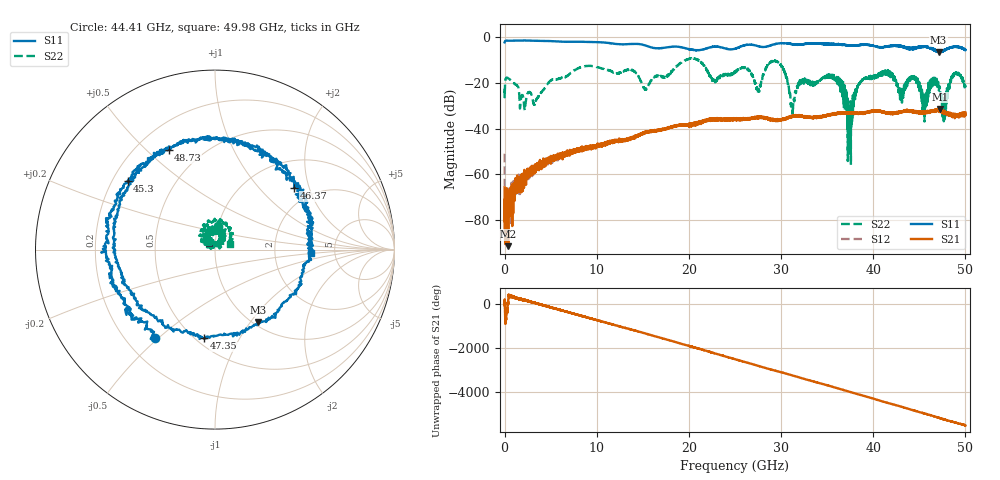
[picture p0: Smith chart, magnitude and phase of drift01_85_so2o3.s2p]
!Created with skrf (http://scikit-rf.org).
# Hz S RI R 50.0
!freq ReS11 ImS11 ReS21 ImS21 ReS12 ImS12 ReS22 ImS22
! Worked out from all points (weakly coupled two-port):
!   10001 points, 300 kHz to 50 GHz, reference 50 ohm
!   highest |S21| = -31.32 dB at 47.25 GHz (marker M1); lowest = -91.5 dB at 395.3 MHz (marker M2)
!   lowest |S11| = -6.6 dB at 47.1 GHz (marker M3), VSWR 2.78, Z = 52.5 - j54.5 ohm
!   |S11| at or under -10 dB: nowhere
!   |S22| runs from -55.9 to -9.2 dB; largest |S21 - S12| = 0.0038
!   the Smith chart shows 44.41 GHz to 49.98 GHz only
!   S11 on the Smith chart (normalised r, x): 44.41 GHz: 0.32, -0.49; 45.3 GHz: 0.26, +0.32; 46.37 GHz: 1.60, +1.59; 47.35 GHz: 0.55, -0.72; 48.73 GHz: 0.33, +0.59; 49.98 GHz: 3.27, -0.18
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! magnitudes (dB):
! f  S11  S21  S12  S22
! 300 kHz  -2.2  -65.8  -51.0  -22.5
! 395.3 MHz  -1.4  -91.5  -74.7  -18.0
! 3.29 GHz  -1.5  -57.7  -57.9  -28.8
! 8.335 GHz  -1.9  -48.7  -48.9  -12.9
! 16.67 GHz  -4.8  -40.7  -40.7  -16.7
! 25 GHz  -5.0  -36.1  -35.8  -15.3
! 29.58 GHz  -2.8  -36.0  -36.6  -10.7
! 31.24 GHz  -3.0  -34.7  -34.7  -32.5
! 33.34 GHz  -2.5  -35.2  -35.0  -20.3
! 36.08 GHz  -3.1  -33.0  -33.2  -18.6
! 37.47 GHz  -3.6  -33.0  -33.0  -32.7
! 38.65 GHz  -3.3  -33.3  -33.2  -19.3
! 41.67 GHz  -3.8  -32.9  -33.1  -16.3
! 44.41 GHz  -4.5  -32.6  -32.6  -17.6
! 45.3 GHz  -4.2  -33.2  -33.0  -23.5
! 46.37 GHz  -5.1  -32.3  -32.4  -19.3
! 47.1 GHz  -6.6  -32.1  -31.9  -21.8
! 47.25 GHz  -6.4  -31.3  -32.1  -22.8
! 47.35 GHz  -6.1  -32.3  -32.2  -26.2
! 48.73 GHz  -4.3  -34.7  -34.2  -17.0
! 49.98 GHz  -5.5  -33.5  -33.2  -21.1
! 50 GHz  -5.5  -32.9  -33.2  -21.2
